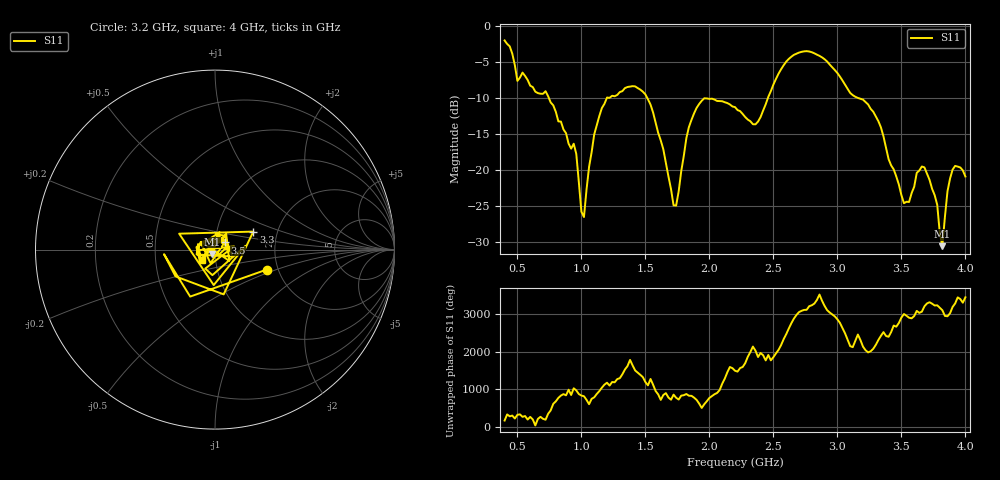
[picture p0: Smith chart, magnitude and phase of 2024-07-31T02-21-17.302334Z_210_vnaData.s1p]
!Created with skrf (http://scikit-rf.org).
# Hz S RI R 50.0
!freq ReS11 ImS11
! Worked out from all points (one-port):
!   181 points, 400 MHz to 4 GHz, reference 50 ohm
!   lowest |S11| = -30.5 dB at 3.82 GHz (marker M1), VSWR 1.06, Z = 48.2 - j2.31 ohm
!   |S11| at or under -10 dB: 745.6 MHz to 1.199 GHz (453 MHz wide, 46.6 % of centre); 1.515 GHz to 2.457 GHz (942.6 MHz wide, 47.5 % of centre); 3.162 GHz to end of sweep
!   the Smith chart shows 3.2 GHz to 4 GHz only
!   S11 on the Smith chart (normalised r, x): 3.2 GHz: 1.74, -0.43; 3.3 GHz: 1.50, +0.32; 3.5 GHz: 1.11, +0.09; 4 GHz: 0.86, -0.10
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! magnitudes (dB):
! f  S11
! 400 MHz  -2.0
! 500 MHz  -7.6
! 720 MHz  -9.1
! 860 MHz  -14.4
! 960 MHz  -17.8
! 1.02 GHz  -26.5
! 1.14 GHz  -12.5
! 1.3 GHz  -9.2
! 1.5 GHz  -9.5
! 1.72 GHz  -24.9
! 1.76 GHz  -22.9
! 1.84 GHz  -14.0
! 1.92 GHz  -10.8
! 2.2 GHz  -11.3
! 2.36 GHz  -13.7
! 2.66 GHz  -4.0
! 2.88 GHz  -4.4
! 3.1 GHz  -9.3
! 3.2 GHz  -10.2
! 3.3 GHz  -12.6
! 3.5 GHz  -23.5
! 3.56 GHz  -24.4
! 3.68 GHz  -19.6
! 3.78 GHz  -24.8
! 3.82 GHz  -30.5
! 3.86 GHz  -22.9
! 3.9 GHz  -19.9
! 4 GHz  -20.9
